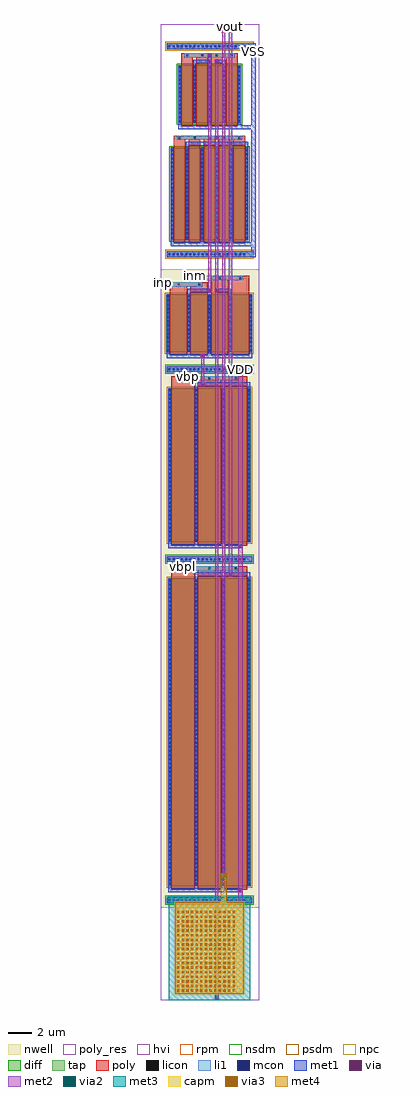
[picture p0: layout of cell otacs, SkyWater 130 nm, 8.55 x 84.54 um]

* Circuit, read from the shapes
.subckt otacs VDD VSS inm inp vbp vbpl vout
XM1 vout n1 VSS VSS sky130_fd_pr__nfet_g5v0d10v5 w=8 l=1 m=5
XM2 n2 n2 VSS VSS sky130_fd_pr__nfet_g5v0d10v5 w=5 l=1 m=2
XM3 n1 n2 VSS VSS sky130_fd_pr__nfet_g5v0d10v5 w=5 l=1 m=2
XM4 n2 inp n3 VDD sky130_fd_pr__pfet_g5v0d10v5 w=5 l=1.5 m=2
XM5 vout vbpl VDD VDD sky130_fd_pr__pfet_g5v0d10v5 w=26.665 l=2 m=3
XM6 n3 vbp VDD VDD sky130_fd_pr__pfet_g5v0d10v5 w=13.335 l=2 m=3
XM7 n1 inm n3 VDD sky130_fd_pr__pfet_g5v0d10v5 w=5 l=1.5 m=2
XC8 n4 n1 sky130_fd_pr__cap_mim_m3_1 w=6.03 l=8.04
XR9 vout n4 VSS sky130_fd_pr__res_high_po w=0.35 l=0.27
.ends

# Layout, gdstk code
import gdstk
lib = gdstk.Library(unit=1e-6, precision=1e-09)
def R(c, l, rs):  # rectangles x0, y0, x1, y1
    for r in rs: c.add(gdstk.rectangle(r[:2], r[2:], *l))
def A(c, l, x, y, w, h, nx, ny, dx, dy):  # array of equal rectangles
    R(c, l, [(x+i*dx, y+j*dy, x+i*dx+w, y+j*dy+h) for i in range(nx) for j in range(ny)])
nwell = (64, 20)
diff = (65, 20)
tap = (65, 44)
poly_res = (66, 13)
poly = (66, 20)
licon = (66, 44)
li1 = (67, 20)
mcon = (67, 44)
met1 = (68, 20)
via = (68, 44)
met2 = (69, 20)
via2 = (69, 44)
met3 = (70, 20)
via3 = (70, 44)
met4 = (71, 20)
hvi = (75, 20)
rpm = (86, 20)
capm = (89, 44)
nsdm = (93, 44)
psdm = (94, 20)
npc = (95, 20)

otacs = lib.new_cell('otacs')
R(otacs, nwell, [(-0.905,-8.395,7.645,46.885)])
R(otacs, diff, [(-0.255,-6.545,6.905,20.12), (-0.255,23.25,6.905,36.585), (-0.4,39.715,7.05,44.715), (-0.045,49.425,6.695,57.425), (0.6,59.555,6.05,64.555)])
R(otacs, tap, [(-0.395,-8.015,7.045,-7.515), (-0.395,21.53,7.045,22.03), (-0.395,37.995,7.045,38.495), (-0.395,47.955,7.045,48.455), (-0.395,65.965,7.045,66.465)])
R(otacs, poly_res, [(4.655,67.59,5.045,67.94)])
A(otacs, poly, 0.035, -6.83, 2, 27.235, 3, 1, 2.29, 0)
A(otacs, poly, 0.035, 20.12, 2, 0.86, 3, 2, 2.29, 16.465)
A(otacs, poly, 0.035, 22.965, 2, 13.905, 3, 1, 2.29, 0)
A(otacs, poly, -0.11, 39.43, 1.5, 5.57, 4, 1, 1.79, 0)
A(otacs, poly, 0.245, 49.14, 1, 8.57, 5, 1, 1.29, 0)
A(otacs, poly, 0.245, 57.425, 1, 0.86, 5, 1, 1.29, 0)
A(otacs, poly, 0.89, 59.27, 1, 5.57, 4, 1, 1.29, 0)
A(otacs, poly, 0.89, 64.555, 1, 0.86, 4, 1, 1.29, 0)
R(otacs, poly, [(0.035,20.8,6.615,21.16), (0.035,37.265,6.615,37.625), (-0.11,44.715,1.39,45.575), (1.68,44.715,3.18,45.575), (3.47,44.715,4.97,46.135), (5.26,44.715,6.76,46.135), (-0.11,45.395,3.18,45.755), (3.47,45.955,6.76,46.315), (0.245,58.105,6.405,58.465), (0.89,65.235,5.76,65.595), (4.3,67.59,5.4,67.94)])
A(otacs, licon, -0.23, -7.85, 0.17, 0.17, 19, 2, 0.36, 29.545)
A(otacs, licon, -0.195, -6.435, 0.17, 0.17, 4, 74, 2.29, 0.36)
A(otacs, licon, 0.95, 20.895, 0.17, 0.17, 3, 2, 2.29, 16.465)
A(otacs, licon, -0.195, 23.355, 0.17, 0.17, 4, 37, 2.29, 0.36)
A(otacs, licon, -0.23, 38.16, 0.17, 0.17, 19, 2, 0.36, 9.96)
A(otacs, licon, -0.34, 39.79, 0.17, 0.17, 5, 14, 1.79, 0.36)
A(otacs, licon, 0.015, 49.56, 0.17, 0.17, 6, 22, 1.29, 0.36)
A(otacs, licon, 0.66, 58.2, 0.17, 0.17, 5, 2, 1.29, 1.43)
A(otacs, licon, 0.66, 59.99, 0.17, 0.17, 5, 13, 1.29, 0.36)
A(otacs, licon, 1.305, 65.33, 0.17, 0.17, 4, 1, 1.29, 0)
A(otacs, licon, -0.23, 66.13, 0.17, 0.17, 19, 1, 0.36, 0)
R(otacs, licon, [(0.555,45.49,0.725,45.66), (2.345,45.49,2.515,45.66), (4.135,46.05,4.305,46.22), (5.925,46.05,6.095,46.22), (4.455,67.67,4.645,67.86), (5.055,67.67,5.245,67.86)])
A(otacs, li1, -0.195, -6.565, 0.17, 26.705, 4, 1, 2.29, 0)
A(otacs, li1, -0.195, 23.23, 0.17, 13.375, 4, 1, 2.29, 0)
A(otacs, li1, -0.34, 39.695, 0.17, 5.04, 5, 1, 1.79, 0)
A(otacs, li1, 0.015, 49.405, 0.17, 8.04, 6, 1, 1.29, 0)
A(otacs, li1, 0.66, 59.535, 0.17, 5.04, 5, 1, 1.29, 0)
R(otacs, li1, [(-0.395,-8.015,7.045,-7.515), (0.78,20.8,1.035,21.16), (0.785,20.8,5.865,21.16), (-0.395,21.53,7.045,22.03), (0.785,37.265,5.865,37.625), (1.035,37.265,1.38,37.625), (-0.395,37.995,7.045,38.495), (-0.845,45.395,0.64,45.755), (0.39,45.395,2.68,45.755), (1.98,45.955,4.22,46.315), (3.97,45.955,6.26,46.315), (-0.395,47.955,7.045,48.455), (0.495,58.105,6.155,58.465), (0.745,58.105,3.78,58.465), (1.14,65.235,5.51,65.595), (1.39,65.235,3.18,65.595), (-0.395,65.965,7.045,66.465), (4.445,67.555,4.655,67.975), (5.045,67.555,5.255,67.975)])
A(otacs, mcon, -0.23, -7.85, 0.17, 0.17, 19, 2, 0.36, 29.545)
A(otacs, mcon, -0.195, -6.435, 0.17, 0.17, 4, 74, 2.29, 0.36)
A(otacs, mcon, -0.195, 23.355, 0.17, 0.17, 4, 37, 2.29, 0.36)
A(otacs, mcon, -0.23, 38.16, 0.17, 0.17, 19, 2, 0.36, 9.96)
A(otacs, mcon, -0.34, 39.79, 0.17, 0.17, 5, 14, 1.79, 0.36)
A(otacs, mcon, 0.015, 49.56, 0.17, 0.17, 6, 22, 1.29, 0.36)
A(otacs, mcon, 0.66, 59.63, 0.17, 0.17, 5, 14, 1.29, 0.36)
A(otacs, mcon, -0.23, 66.13, 0.17, 0.17, 19, 1, 0.36, 0)
R(otacs, mcon, [(0.865,20.895,1.035,21.065), (1.465,37.36,1.635,37.53), (-0.76,45.49,-0.59,45.66), (2.065,46.05,2.235,46.22), (3.865,58.2,4.035,58.37), (3.265,65.33,3.435,65.5), (4.465,67.68,4.635,67.85), (5.065,67.68,5.235,67.85)])
A(otacs, met1, -0.225, -6.545, 0.23, 26.665, 4, 1, 2.29, 0)
A(otacs, met1, -0.225, 23.25, 0.23, 13.335, 4, 1, 2.29, 0)
A(otacs, met1, -0.37, 39.185, 0.23, 0.53, 3, 1, 3.58, 0)
A(otacs, met1, -0.37, 39.715, 0.23, 5, 5, 1, 1.79, 0)
A(otacs, met1, -0.015, 48.895, 0.23, 0.53, 3, 1, 2.58, 0)
A(otacs, met1, -0.015, 49.425, 0.23, 8, 6, 1, 1.29, 0)
A(otacs, met1, 1.275, 57.425, 0.23, 0.51, 3, 1, 2.58, 0)
A(otacs, met1, 0.63, 59.025, 0.23, 0.53, 3, 1, 2.58, 0)
A(otacs, met1, 0.63, 59.555, 0.23, 5, 5, 1, 1.29, 0)
R(otacs, met1, [(-0.395,-8.015,7.045,-7.515), (-0.225,-7.075,0.005,-6.545), (-0.225,-7.075,6.2,-6.735), (4.355,-7.075,4.585,-6.545), (2.065,20.12,2.295,20.63), (6.645,20.12,6.875,20.63), (2.065,20.29,6.875,20.63), (0.78,20.81,1.12,21.15), (-0.395,21.53,7.045,22.03), (-0.225,22.72,0.005,23.25), (-0.225,22.72,6.2,23.06), (4.355,22.72,4.585,23.25), (2.065,36.585,2.295,37.095), (6.645,36.585,6.875,37.095), (2.065,36.755,6.875,37.095), (1.38,37.275,1.72,37.615), (-0.395,37.995,7.045,38.495), (-0.37,39.185,7.02,39.525), (1.42,44.715,1.65,45.225), (5,44.715,5.23,45.225), (1.42,44.885,3.515,45.225), (3.785,44.885,5.23,45.225), (-0.845,45.405,-0.505,45.745), (1.98,45.965,2.32,46.305), (-0.395,47.955,7.045,48.455), (6.95,47.955,7.35,66.465), (-0.015,48.895,7.35,49.235), (1.275,57.595,6.665,57.935), (3.78,58.115,4.12,58.455), (0.63,59.025,7.35,59.365), (1.92,64.555,2.15,65.065), (4.5,64.555,4.73,65.065), (1.92,64.725,3.515,65.065), (3.785,64.725,4.73,65.065), (3.18,65.245,3.52,65.585), (-0.395,65.965,7.045,66.465), (4.34,67.555,4.76,67.975), (4.94,67.555,5.36,67.975)])
R(otacs, via, [(5.925,-7.84,6.075,-7.69), (5.925,-6.98,6.075,-6.83), (5.075,20.385,5.225,20.535), (0.875,20.905,1.025,21.055), (5.925,21.705,6.075,21.855), (5.925,22.815,6.075,22.965), (2.675,36.85,2.825,37), (1.475,37.37,1.625,37.52), (5.925,38.17,6.075,38.32), (2.675,39.28,2.825,39.43), (3.275,44.98,3.425,45.13), (3.875,44.98,4.025,45.13), (-0.75,45.5,-0.6,45.65), (2.075,46.06,2.225,46.21), (5.075,57.69,5.225,57.84), (3.875,58.21,4.025,58.36), (3.275,64.82,3.425,64.97), (3.875,64.82,4.025,64.97), (3.275,65.34,3.425,65.49), (4.475,67.69,4.625,67.84), (5.075,67.69,5.225,67.84)])
R(otacs, met2, [(3.765,-16.335,4.135,-15.965), (3.81,-16.33,4.09,65.075), (5.8,-8.065,6.2,38.545), (5.8,-8.015,6.2,-7.515), (5.8,-7.075,6.2,-6.735), (4.365,-5.885,4.735,-5.515), (4.41,-5.88,4.69,67.945), (5.01,20.28,5.29,67.945), (4.985,20.295,5.315,20.625), (0.81,20.8,1.09,21.16), (0.785,20.815,1.115,21.145), (5.8,21.53,6.2,22.03), (5.8,22.72,6.2,23.06), (2.61,36.745,2.89,39.535), (2.585,36.76,2.915,37.09), (1.41,37.265,1.69,37.625), (1.385,37.28,1.715,37.61), (5.8,37.995,6.2,38.495), (2.585,39.19,2.915,39.52), (3.21,44.875,3.49,65.595), (3.185,44.89,3.515,45.22), (3.785,44.89,4.115,45.22), (-0.815,45.395,-0.535,45.755), (-0.84,45.41,-0.51,45.74), (2.01,45.955,2.29,46.315), (1.985,45.97,2.315,46.3), (4.985,57.6,5.315,57.93), (3.785,58.12,4.115,58.45), (3.185,64.73,3.515,65.06), (3.785,64.73,4.115,65.06), (3.185,65.25,3.515,65.58), (4.385,67.6,4.715,67.93), (4.985,67.6,5.315,67.93)])
R(otacs, via2, [(3.85,-16.25,4.05,-16.05), (4.45,-5.8,4.65,-5.6)])
R(otacs, met3, [(-0.19,-16.4,6.84,-7.36), (4.29,-5.96,4.81,-5.44)])
A(otacs, via3, 0.52, -15.69, 0.2, 0.2, 13, 18, 0.4, 0.4)
R(otacs, via3, [(4.45,-5.8,4.65,-5.6)])
R(otacs, met4, [(0.37,-15.84,6.28,-7.92), (4.29,-7.92,4.81,-5.44)])
R(otacs, hvi, [(-0.905,-16.4,7.645,68.14)])
R(otacs, rpm, [(4.1,67.39,5.6,68.14)])
R(otacs, capm, [(0.31,-15.9,6.34,-7.86)])
R(otacs, nsdm, [(-0.525,-8.145,7.175,-7.385), (-0.525,21.4,7.175,22.16), (-0.525,37.865,7.175,38.625), (-0.175,49.295,6.825,57.555), (0.47,59.425,6.18,64.685)])
R(otacs, psdm, [(-0.385,-6.675,7.035,20.25), (-0.385,23.12,7.035,36.715), (-0.53,39.585,7.18,44.845), (-0.525,47.825,7.175,48.585), (-0.525,65.835,7.175,66.595), (4.1,67.39,5.6,68.14)])
R(otacs, npc, [(0.845,20.79,5.805,21.17), (0.845,37.255,5.805,37.635), (0.45,45.385,2.62,45.765), (4.03,45.945,6.2,46.325), (0.555,58.095,6.095,58.475), (1.2,65.225,5.45,65.605), (4.2,67.49,5.5,68.04)])
otacs.add(gdstk.Label('vout', (5.15,67.945), layer=69, texttype=5))
otacs.add(gdstk.Label('vbpl', (0.95,21.16), layer=69, texttype=5))
otacs.add(gdstk.Label('vbp', (1.55,37.625), layer=69, texttype=5))
otacs.add(gdstk.Label('inp', (-0.675,45.755), layer=69, texttype=5))
otacs.add(gdstk.Label('inm', (2.15,46.315), layer=69, texttype=5))
otacs.add(gdstk.Label('VDD', (6,38.245), layer=69, texttype=5))
otacs.add(gdstk.Label('VSS', (7.15,65.715), layer=68, texttype=5))

lib.write_gds('otacs.gds')
